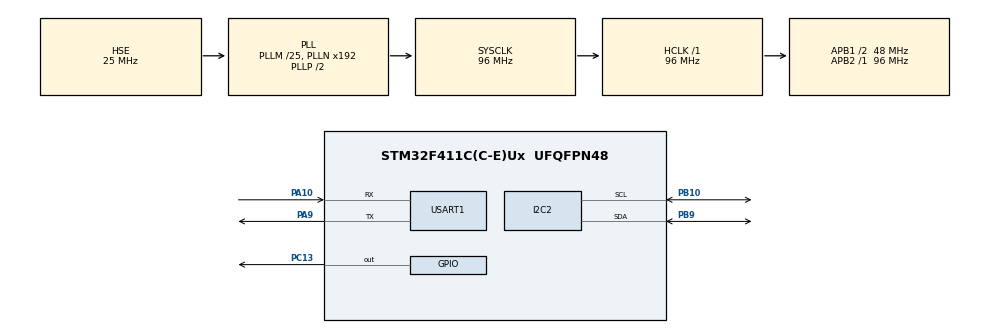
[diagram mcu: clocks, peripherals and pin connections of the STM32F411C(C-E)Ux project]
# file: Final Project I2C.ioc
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I2C2.I2C_Mode=I2C_Fast
Mcu.Family=STM32F4
Mcu.Name=STM32F411C(C-E)Ux
Mcu.Package=UFQFPN48
NVIC.I2C2_ER_IRQn=true\:0\:0\:false\:false\:true\:true\:true\:true
NVIC.I2C2_EV_IRQn=true\:0\:0\:false\:false\:true\:true\:true\:true
NVIC.PriorityGroup=NVIC_PRIORITYGROUP_4
NVIC.USART1_IRQn=true\:0\:0\:false\:false\:true\:true\:true\:true
PA10.Mode=Asynchronous
PA10.Signal=USART1_RX
PA13.Mode=Serial_Wire
PA13.Signal=SYS_JTMS-SWDIO
PA14.Mode=Serial_Wire
PA14.Signal=SYS_JTCK-SWCLK
PA9.Mode=Asynchronous
PA9.Signal=USART1_TX
PB10.GPIO_Pu=GPIO_NOPULL
PB10.Mode=I2C
PB10.Signal=I2C2_SCL
PB9.GPIO_Pu=GPIO_NOPULL
PB9.Mode=I2C
PB9.Signal=I2C2_SDA
PC13-ANTI_TAMP.Signal=GPIO_Output
PH0\ -\ OSC_IN.Mode=HSE-External-Oscillator
PH0\ -\ OSC_IN.Signal=RCC_OSC_IN
PH1\ -\ OSC_OUT.Mode=HSE-External-Oscillator
PH1\ -\ OSC_OUT.Signal=RCC_OSC_OUT
ProjectManager.HeapSize=0x200
ProjectManager.StackSize=0x400
ProjectManager.TargetToolchain=STM32CubeIDE
RCC.48MHZClocksFreq_Value=48000000
RCC.AHBFreq_Value=96000000
RCC.APB1CLKDivider=RCC_HCLK_DIV2
RCC.APB1Freq_Value=48000000
RCC.APB1TimFreq_Value=96000000
RCC.APB2Freq_Value=96000000
RCC.APB2TimFreq_Value=96000000
RCC.CortexFreq_Value=96000000
RCC.HCLKFreq_Value=96000000
RCC.HSE_VALUE=25000000
RCC.HSI_VALUE=16000000
RCC.LSE_VALUE=32768
RCC.PLLM=25
RCC.PLLSourceVirtual=RCC_PLLSOURCE_HSE
RCC.SYSCLKFreq_VALUE=96000000
RCC.SYSCLKSource=RCC_SYSCLKSOURCE_PLLCLK
RCC.VCOOutputFreq_Value=192000000
TIM2.Period=4799
TIM2.Prescaler=0
USART1.VirtualMode=VM_ASYNC
VP_TIM1_VS_ClockSourceITR.Mode=TriggerSource_ITR0
VP_TIM2_VS_ClockSourceINT.Mode=Internal
board=custom

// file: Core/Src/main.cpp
/* USER CODE BEGIN Header */
/**
  ******************************************************************************
  * @file           : main.c
  * @brief          : Main program body
  ******************************************************************************
  * @attention
  *
  * Copyright (c) 2023 STMicroelectronics.
  * All rights reserved.
  *
  * This software is licensed under terms that can be found in the LICENSE file
  * in the root directory of this software component.
  * If no LICENSE file comes with this software, it is provided AS-IS.
  *
  ******************************************************************************
  */
/* USER CODE END Header */
#include "main.h"

/* USER CODE BEGIN Includes */
#include <stdio.h>
#include "CSens.h"
/* USER CODE END Includes */

I2C_HandleTypeDef hi2c2;

TIM_HandleTypeDef htim1;
TIM_HandleTypeDef htim2;

UART_HandleTypeDef huart1;

/* USER CODE BEGIN PV */
uint16_t Color [4] = {0};

char msg_buff[100] = {0};

uint8_t CSens::Cdata[27] = {0};
I2C_HandleTypeDef* CSens::i2c;
uint16_t CSens::Clr_Val = 0;
uint16_t CSens::Red_Val = 0;
uint16_t CSens::Grn_Val = 0;
uint16_t CSens::Blu_Val = 0;
/* USER CODE END PV */

void SystemClock_Config(void);
static void MX_GPIO_Init(void);
static void MX_TIM2_Init(void);
static void MX_USART1_UART_Init(void);
static void MX_TIM1_Init(void);
static void MX_I2C2_Init(void);

int main(void)
{

  /* MCU Configuration--------------------------------------------------------*/

  /* Reset of all peripherals, Initializes the Flash interface and the Systick. */
  HAL_Init();

  /* Configure the system clock */
  SystemClock_Config();

  /* Initialize all configured peripherals */
  MX_GPIO_Init();
  MX_TIM2_Init();
  MX_USART1_UART_Init();
  MX_TIM1_Init();
  MX_I2C2_Init();
  /* USER CODE BEGIN 2 */
  HAL_I2C_Init(&hi2c2);
  CSens Col = CSens(&hi2c2);
  /* USER CODE END 2 */

  /* Infinite loop */
  /* USER CODE BEGIN WHILE */
  while (1)
  {
	  HAL_Delay(250);
	  Col.getCdata();
	  Color[0] = Col.Clr_Val;
	  Color[1] = Col.Red_Val;
	  Color[2] = Col.Grn_Val;
	  Color[3] = Col.Blu_Val;

	  int32_t len = sprintf(msg_buff, "Color Detected is: %i , %i , %i , %i\r\n",Color[0],Color[1],Color[2],Color[3]);
	  	// print string to uart
	  	HAL_UART_Transmit(&huart1,(uint8_t*) &msg_buff,len,1000);
    /* USER CODE END WHILE */

  }
}

void SystemClock_Config(void)
{
  RCC_OscInitTypeDef RCC_OscInitStruct = {0};
  RCC_ClkInitTypeDef RCC_ClkInitStruct = {0};

  /** Configure the main internal regulator output voltage
  */
  __HAL_RCC_PWR_CLK_ENABLE();
  __HAL_PWR_VOLTAGESCALING_CONFIG(PWR_REGULATOR_VOLTAGE_SCALE1);

  /** Initializes the RCC Oscillators according to the specified parameters
  * in the RCC_OscInitTypeDef structure.
  */
  RCC_OscInitStruct.OscillatorType = RCC_OSCILLATORTYPE_HSE;
  RCC_OscInitStruct.HSEState = RCC_HSE_ON;
  RCC_OscInitStruct.PLL.PLLState = RCC_PLL_ON;
  RCC_OscInitStruct.PLL.PLLSource = RCC_PLLSOURCE_HSE;
  RCC_OscInitStruct.PLL.PLLM = 25;
  RCC_OscInitStruct.PLL.PLLN = 192;
  RCC_OscInitStruct.PLL.PLLP = RCC_PLLP_DIV2;
  RCC_OscInitStruct.PLL.PLLQ = 4;
  if (HAL_RCC_OscConfig(&RCC_OscInitStruct) != HAL_OK)
  {
    Error_Handler();
  }

  /** Initializes the CPU, AHB and APB buses clocks
  */
  RCC_ClkInitStruct.ClockType = RCC_CLOCKTYPE_HCLK|RCC_CLOCKTYPE_SYSCLK
                              |RCC_CLOCKTYPE_PCLK1|RCC_CLOCKTYPE_PCLK2;
  RCC_ClkInitStruct.SYSCLKSource = RCC_SYSCLKSOURCE_PLLCLK;
  RCC_ClkInitStruct.AHBCLKDivider = RCC_SYSCLK_DIV1;
  RCC_ClkInitStruct.APB1CLKDivider = RCC_HCLK_DIV2;
  RCC_ClkInitStruct.APB2CLKDivider = RCC_HCLK_DIV1;

  if (HAL_RCC_ClockConfig(&RCC_ClkInitStruct, FLASH_LATENCY_3) != HAL_OK)
  {
    Error_Handler();
  }
}

static void MX_I2C2_Init(void)
{

  hi2c2.Instance = I2C2;
  hi2c2.Init.ClockSpeed = 400000;
  hi2c2.Init.DutyCycle = I2C_DUTYCYCLE_2;
  hi2c2.Init.OwnAddress1 = 0;
  hi2c2.Init.AddressingMode = I2C_ADDRESSINGMODE_7BIT;
  hi2c2.Init.DualAddressMode = I2C_DUALADDRESS_DISABLE;
  hi2c2.Init.OwnAddress2 = 0;
  hi2c2.Init.GeneralCallMode = I2C_GENERALCALL_DISABLE;
  hi2c2.Init.NoStretchMode = I2C_NOSTRETCH_DISABLE;
  if (HAL_I2C_Init(&hi2c2) != HAL_OK)
  {
    Error_Handler();
  }

}

static void MX_TIM1_Init(void)
{

  TIM_SlaveConfigTypeDef sSlaveConfig = {0};
  TIM_MasterConfigTypeDef sMasterConfig = {0};

  htim1.Instance = TIM1;
  htim1.Init.Prescaler = 0;
  htim1.Init.CounterMode = TIM_COUNTERMODE_UP;
  htim1.Init.Period = 65535;
  htim1.Init.ClockDivision = TIM_CLOCKDIVISION_DIV1;
  htim1.Init.RepetitionCounter = 0;
  htim1.Init.AutoReloadPreload = TIM_AUTORELOAD_PRELOAD_DISABLE;
  if (HAL_TIM_Base_Init(&htim1) != HAL_OK)
  {
    Error_Handler();
  }
  sSlaveConfig.SlaveMode = TIM_SLAVEMODE_DISABLE;
  sSlaveConfig.InputTrigger = TIM_TS_ITR0;
  if (HAL_TIM_SlaveConfigSynchro(&htim1, &sSlaveConfig) != HAL_OK)
  {
    Error_Handler();
  }
  sMasterConfig.MasterOutputTrigger = TIM_TRGO_RESET;
  sMasterConfig.MasterSlaveMode = TIM_MASTERSLAVEMODE_DISABLE;
  if (HAL_TIMEx_MasterConfigSynchronization(&htim1, &sMasterConfig) != HAL_OK)
  {
    Error_Handler();
  }

}

static void MX_TIM2_Init(void)
{

  TIM_ClockConfigTypeDef sClockSourceConfig = {0};
  TIM_MasterConfigTypeDef sMasterConfig = {0};

  htim2.Instance = TIM2;
  htim2.Init.Prescaler = 0;
  htim2.Init.CounterMode = TIM_COUNTERMODE_UP;
  htim2.Init.Period = 4799;
  htim2.Init.ClockDivision = TIM_CLOCKDIVISION_DIV1;
  htim2.Init.AutoReloadPreload = TIM_AUTORELOAD_PRELOAD_DISABLE;
  if (HAL_TIM_Base_Init(&htim2) != HAL_OK)
  {
    Error_Handler();
  }
  sClockSourceConfig.ClockSource = TIM_CLOCKSOURCE_INTERNAL;
  if (HAL_TIM_ConfigClockSource(&htim2, &sClockSourceConfig) != HAL_OK)
  {
    Error_Handler();
  }
  sMasterConfig.MasterOutputTrigger = TIM_TRGO_RESET;
  sMasterConfig.MasterSlaveMode = TIM_MASTERSLAVEMODE_DISABLE;
  if (HAL_TIMEx_MasterConfigSynchronization(&htim2, &sMasterConfig) != HAL_OK)
  {
    Error_Handler();
  }

}

static void MX_USART1_UART_Init(void)
{

  huart1.Instance = USART1;
  huart1.Init.BaudRate = 115200;
  huart1.Init.WordLength = UART_WORDLENGTH_8B;
  huart1.Init.StopBits = UART_STOPBITS_1;
  huart1.Init.Parity = UART_PARITY_NONE;
  huart1.Init.Mode = UART_MODE_TX_RX;
  huart1.Init.HwFlowCtl = UART_HWCONTROL_NONE;
  huart1.Init.OverSampling = UART_OVERSAMPLING_16;
  if (HAL_UART_Init(&huart1) != HAL_OK)
  {
    Error_Handler();
  }

}

static void MX_GPIO_Init(void)
{
  GPIO_InitTypeDef GPIO_InitStruct = {0};

  /* GPIO Ports Clock Enable */
  __HAL_RCC_GPIOC_CLK_ENABLE();
  __HAL_RCC_GPIOH_CLK_ENABLE();
  __HAL_RCC_GPIOB_CLK_ENABLE();
  __HAL_RCC_GPIOA_CLK_ENABLE();

  /*Configure GPIO pin Output Level */
  HAL_GPIO_WritePin(GPIOC, GPIO_PIN_13, GPIO_PIN_RESET);

  /*Configure GPIO pin : PC13 */
  GPIO_InitStruct.Pin = GPIO_PIN_13;
  GPIO_InitStruct.Mode = GPIO_MODE_OUTPUT_PP;
  GPIO_InitStruct.Pull = GPIO_NOPULL;
  GPIO_InitStruct.Speed = GPIO_SPEED_FREQ_LOW;
  HAL_GPIO_Init(GPIOC, &GPIO_InitStruct);

}

void Error_Handler(void)
{
  __disable_irq();
  while (1)
  {
  }
}
